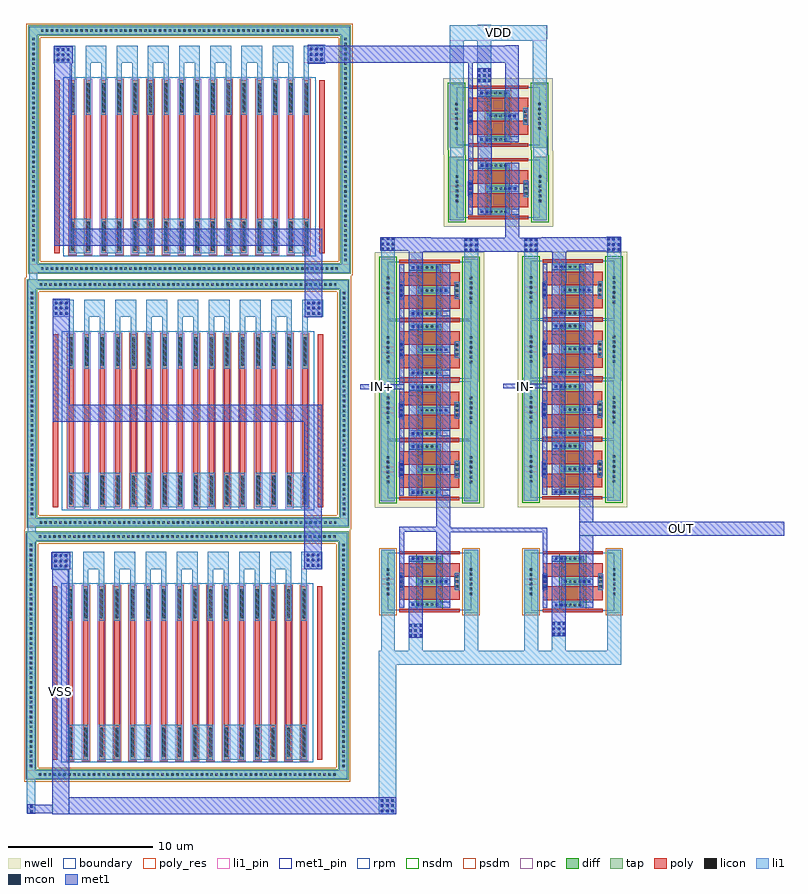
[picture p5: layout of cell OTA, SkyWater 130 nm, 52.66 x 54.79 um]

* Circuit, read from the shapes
.subckt OTA IN+ IN- OUT VDD VSS
XM1 JNWATR_NCH_4C5F0_14/D JNWATR_NCH_4C5F0_14/D VSS VSS sky130_fd_pr__nfet_01v8 w=1.6 l=0.94 m=2
XM2 OUT JNWATR_NCH_4C5F0_14/D VSS VSS sky130_fd_pr__nfet_01v8 w=1.6 l=0.94 m=2
XM3 JNWATR_NCH_4C5F0_14/D IN+ JNWATR_PCH_4C5F0_10/B JNWATR_PCH_4C5F0_10/B sky130_fd_pr__pfet_01v8 w=1.6 l=0.94 m=8
XM4 JNWATR_PCH_4C5F0_3/D JNWATR_PCH_4C5F0_3/D VDD VDD sky130_fd_pr__pfet_01v8 w=1.6 l=0.94 m=2
XM5 JNWATR_PCH_4C5F0_10/B JNWATR_PCH_4C5F0_3/D VDD VDD sky130_fd_pr__pfet_01v8 w=1.6 l=0.94 m=2
XM6 OUT IN- JNWATR_PCH_4C5F0_10/B JNWATR_PCH_4C5F0_10/B sky130_fd_pr__pfet_01v8 w=1.6 l=0.94 m=8
XR7 VSS n1 VSS sky130_fd_pr__res_high_po w=0.36 l=7.24
XR8 JNWTR_RPPO16_0/N n2 VSS sky130_fd_pr__res_high_po w=0.36 l=7.24
XR9 JNWTR_RPPO16_2/N n3 VSS sky130_fd_pr__res_high_po w=0.36 l=7.24
XR10 n4 n1 VSS sky130_fd_pr__res_high_po w=0.36 l=7.24
XR11 n5 n2 VSS sky130_fd_pr__res_high_po w=0.36 l=7.24
XR12 n6 n3 VSS sky130_fd_pr__res_high_po w=0.36 l=7.24
XR13 n4 n7 VSS sky130_fd_pr__res_high_po w=0.36 l=7.24
XR14 n5 n8 VSS sky130_fd_pr__res_high_po w=0.36 l=7.24
XR15 n6 n9 VSS sky130_fd_pr__res_high_po w=0.36 l=7.24
XR16 n10 n7 VSS sky130_fd_pr__res_high_po w=0.36 l=7.24
XR17 n11 n8 VSS sky130_fd_pr__res_high_po w=0.36 l=7.24
XR18 n12 n9 VSS sky130_fd_pr__res_high_po w=0.36 l=7.24
XR19 n10 n13 VSS sky130_fd_pr__res_high_po w=0.36 l=7.24
XR20 n11 n14 VSS sky130_fd_pr__res_high_po w=0.36 l=7.24
XR21 n12 n15 VSS sky130_fd_pr__res_high_po w=0.36 l=7.24
XR22 n16 n13 VSS sky130_fd_pr__res_high_po w=0.36 l=7.24
XR23 n17 n14 VSS sky130_fd_pr__res_high_po w=0.36 l=7.24
XR24 n18 n15 VSS sky130_fd_pr__res_high_po w=0.36 l=7.24
XR25 n16 n19 VSS sky130_fd_pr__res_high_po w=0.36 l=7.24
XR26 n17 n20 VSS sky130_fd_pr__res_high_po w=0.36 l=7.24
XR27 n18 n21 VSS sky130_fd_pr__res_high_po w=0.36 l=7.24
XR28 n22 n19 VSS sky130_fd_pr__res_high_po w=0.36 l=7.24
XR29 n23 n20 VSS sky130_fd_pr__res_high_po w=0.36 l=7.24
XR30 n24 n21 VSS sky130_fd_pr__res_high_po w=0.36 l=7.24
XR31 n22 n25 VSS sky130_fd_pr__res_high_po w=0.36 l=7.24
XR32 n23 n26 VSS sky130_fd_pr__res_high_po w=0.36 l=7.24
XR33 n24 n27 VSS sky130_fd_pr__res_high_po w=0.36 l=7.24
XR34 n28 n25 VSS sky130_fd_pr__res_high_po w=0.36 l=7.24
XR35 n29 n26 VSS sky130_fd_pr__res_high_po w=0.36 l=7.24
XR36 n30 n27 VSS sky130_fd_pr__res_high_po w=0.36 l=7.24
XR37 n28 n31 VSS sky130_fd_pr__res_high_po w=0.36 l=7.24
XR38 n29 n32 VSS sky130_fd_pr__res_high_po w=0.36 l=7.24
XR39 n30 n33 VSS sky130_fd_pr__res_high_po w=0.36 l=7.24
XR40 n34 n31 VSS sky130_fd_pr__res_high_po w=0.36 l=7.24
XR41 n35 n32 VSS sky130_fd_pr__res_high_po w=0.36 l=7.24
XR42 n36 n33 VSS sky130_fd_pr__res_high_po w=0.36 l=7.24
XR43 n34 n37 VSS sky130_fd_pr__res_high_po w=0.36 l=7.24
XR44 n35 n38 VSS sky130_fd_pr__res_high_po w=0.36 l=7.24
XR45 n36 n39 VSS sky130_fd_pr__res_high_po w=0.36 l=7.24
XR46 n40 n37 VSS sky130_fd_pr__res_high_po w=0.36 l=7.24
XR47 n41 n38 VSS sky130_fd_pr__res_high_po w=0.36 l=7.24
XR48 n42 n39 VSS sky130_fd_pr__res_high_po w=0.36 l=7.24
XR49 n40 n43 VSS sky130_fd_pr__res_high_po w=0.36 l=7.24
XR50 n41 n44 VSS sky130_fd_pr__res_high_po w=0.36 l=7.24
XR51 n42 n45 VSS sky130_fd_pr__res_high_po w=0.36 l=7.24
XR52 JNWTR_RPPO16_0/N n43 VSS sky130_fd_pr__res_high_po w=0.36 l=7.24
XR53 JNWTR_RPPO16_2/N n44 VSS sky130_fd_pr__res_high_po w=0.36 l=7.24
XR54 JNWATR_PCH_4C5F0_3/D n45 VSS sky130_fd_pr__res_high_po w=0.36 l=7.24
.ends

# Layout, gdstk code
import gdstk
lib = gdstk.Library(unit=1e-6, precision=1e-09)
def R(c, l, rs):  # rectangles x0, y0, x1, y1
    for r in rs: c.add(gdstk.rectangle(r[:2], r[2:], *l))
def A(c, l, x, y, w, h, nx, ny, dx, dy):  # array of equal rectangles
    R(c, l, [(x+i*dx, y+j*dy, x+i*dx+w, y+j*dy+h) for i in range(nx) for j in range(ny)])
nwell = (64, 20)
diff = (65, 20)
tap = (65, 44)
poly_res = (66, 13)
poly = (66, 20)
licon = (66, 44)
li1_pin = (67, 16)
li1 = (67, 20)
mcon = (67, 44)
met1_pin = (68, 16)
met1 = (68, 20)
rpm = (86, 20)
nsdm = (93, 44)
psdm = (94, 20)
npc = (95, 20)
boundary = (235, 4)

jnwtr_res16 = lib.new_cell('JNWTR_RES16')
A(jnwtr_res16, poly_res, 0.9, 1.72, 0.36, 7.36, 16, 1, 1.08, 0)
A(jnwtr_res16, poly, -0.18, -0.6, 0.36, 12, 18, 1, 1.08, 0)
A(jnwtr_res16, licon, 0.985, -0.4, 0.19, 2, 16, 2, 1.08, 9.6)
R(jnwtr_res16, li1_pin, [(-0.18,12.6,1.26,13.8), (17.1,12.6,18.54,13.8)])
A(jnwtr_res16, li1, 0.9, -0.6, 1.44, 2.4, 8, 1, 2.16, 0)
A(jnwtr_res16, li1, 0.9, 9, 0.36, 3.6, 16, 1, 1.08, 0)
A(jnwtr_res16, li1, -0.18, 12.6, 1.44, 1.2, 9, 1, 2.16, 0)
R(jnwtr_res16, rpm, [(0.445,-0.8,17.915,11.6)])
A(jnwtr_res16, psdm, 0.79, -0.71, 0.58, 12.22, 16, 1, 1.08, 0)
A(jnwtr_res16, npc, 0.805, -0.695, 0.55, 12.19, 16, 1, 1.08, 0)
R(jnwtr_res16, boundary, [(0,0,18.36,13.2)])
jnwtr_res16.add(gdstk.Label('N', (0.54,13.2), layer=67, texttype=5))
jnwtr_res16.add(gdstk.Label('P', (17.82,13.2), layer=67, texttype=5))

jnwtr_rppo16 = lib.new_cell('JNWTR_RPPO16')
R(jnwtr_rppo16, tap, [(0,0,22.36,0.72), (0,0.72,0.72,16.48), (21.64,0.72,22.36,16.48), (0,16.48,22.36,17.2)])
A(jnwtr_rppo16, licon, 0.895, 0.275, 0.17, 0.17, 61, 2, 0.34, 16.48)
A(jnwtr_rppo16, licon, 0.275, 0.865, 0.17, 0.17, 1, 46, 0, 0.34)
A(jnwtr_rppo16, licon, 21.915, 0.865, 0.17, 0.17, 1, 46, 0, 0.34)
R(jnwtr_rppo16, li1_pin, [(0.08,0.08,22.28,0.64), (1.82,14.6,3.26,15.8), (19.1,14.6,20.54,15.8)])
R(jnwtr_rppo16, li1, [(0.08,0.08,22.28,0.64), (0.08,0.64,0.64,16.56), (21.72,0.64,22.28,16.56), (1.82,14.6,3.26,15.8), (19.1,14.6,20.54,15.8), (0.08,16.56,22.28,17.12)])
R(jnwtr_rppo16, psdm, [(-0.125,-0.125,22.485,0.845), (-0.125,0.845,0.845,16.355), (21.515,0.845,22.485,16.355), (-0.125,16.355,22.485,17.325)])
R(jnwtr_rppo16, boundary, [(0,0,22.36,17.2)])
jnwtr_rppo16.add(gdstk.Reference(jnwtr_res16, (2,2)))
jnwtr_rppo16.add(gdstk.Label('P', (19.82,15.2), layer=67, texttype=5))
jnwtr_rppo16.add(gdstk.Label('N', (2.54,15.2), layer=67, texttype=5))
jnwtr_rppo16.add(gdstk.Label('B', (11.18,0.36), layer=67, texttype=5))

jnwatr_pch_4c5f0 = lib.new_cell('JNWATR_PCH_4C5F0')
R(jnwatr_pch_4c5f0, nwell, [(-0.92,-0.64,6.68,4.64)])
R(jnwatr_pch_4c5f0, diff, [(2.08,0.2,3.68,3.8)])
R(jnwatr_pch_4c5f0, tap, [(-0.48,-0.2,0.48,4.2), (5.28,-0.2,6.24,4.2)])
R(jnwatr_pch_4c5f0, poly, [(0.8,-0.11,4.96,0.11), (0.8,0.73,4.96,1.67), (0.8,1.67,1.12,2.33), (4.64,1.67,4.96,2.33), (0.8,2.33,4.96,3.27), (0.8,3.89,4.96,4.11)])
A(jnwatr_pch_4c5f0, licon, 2.285, 0.315, 0.17, 0.17, 4, 3, 0.34, 1.6)
A(jnwatr_pch_4c5f0, licon, -0.085, 1.065, 0.17, 0.17, 1, 6, 0, 0.34)
A(jnwatr_pch_4c5f0, licon, 5.675, 1.065, 0.17, 0.17, 1, 6, 0, 0.34)
A(jnwatr_pch_4c5f0, licon, 0.87, 1.575, 0.17, 0.17, 1, 3, 0, 0.34)
A(jnwatr_pch_4c5f0, licon, 4.71, 1.575, 0.17, 0.17, 1, 3, 0, 0.34)
R(jnwatr_pch_4c5f0, li1_pin, [(-0.48,1.8,0.48,2.2)])
R(jnwatr_pch_4c5f0, li1, [(-0.48,-0.2,0.48,4.2), (5.28,-0.2,6.24,4.2), (1.44,0.2,3.68,0.6), (0.8,1.4,1.12,2.6), (4.64,1.4,4.96,2.6), (2.08,1.8,4.32,2.2), (1.44,3.4,3.68,3.8)])
A(jnwatr_pch_4c5f0, mcon, 0.87, 1.555, 0.17, 0.17, 1, 3, 0, 0.36)
R(jnwatr_pch_4c5f0, mcon, [(1.655,0.315,1.825,0.485), (2.015,0.315,2.185,0.485), (3.575,1.915,3.745,2.085), (3.935,1.915,4.105,2.085), (1.655,3.515,1.825,3.685), (2.015,3.515,2.185,3.685)])
R(jnwatr_pch_4c5f0, met1_pin, [(3.36,0.2,4.32,0.6), (0.8,1.8,1.12,2.2), (1.44,3,2.4,3.4)])
R(jnwatr_pch_4c5f0, met1, [(0.8,0.2,1.12,3.8), (1.44,0.2,2.4,3.8), (3.36,0.2,4.32,3.8)])
R(jnwatr_pch_4c5f0, nsdm, [(-0.605,-0.325,0.605,4.325), (5.155,-0.325,6.365,4.325)])
R(jnwatr_pch_4c5f0, psdm, [(1.955,0.075,3.805,3.925)])
R(jnwatr_pch_4c5f0, npc, [(0.77,1.475,1.14,2.525), (4.61,1.475,4.98,2.525)])
R(jnwatr_pch_4c5f0, boundary, [(0,0,5.76,4)])
jnwatr_pch_4c5f0.add(gdstk.Label('D', (3.84,0.4), layer=68, texttype=5))
jnwatr_pch_4c5f0.add(gdstk.Label('G', (0.96,2), layer=68, texttype=5))
jnwatr_pch_4c5f0.add(gdstk.Label('S', (1.92,3.2), layer=68, texttype=5))
jnwatr_pch_4c5f0.add(gdstk.Label('B', (0,2), layer=67, texttype=5))

jnwatr_nch_4c5f0 = lib.new_cell('JNWATR_NCH_4C5F0')
R(jnwatr_nch_4c5f0, diff, [(2.08,0.2,3.68,3.8)])
R(jnwatr_nch_4c5f0, tap, [(-0.48,-0.2,0.48,4.2), (5.28,-0.2,6.24,4.2)])
R(jnwatr_nch_4c5f0, poly, [(0.8,-0.11,4.96,0.11), (0.8,0.73,4.96,1.67), (0.8,1.67,1.12,2.33), (4.64,1.67,4.96,2.33), (0.8,2.33,4.96,3.27), (0.8,3.89,4.96,4.11)])
A(jnwatr_nch_4c5f0, licon, 2.285, 0.315, 0.17, 0.17, 4, 3, 0.34, 1.6)
A(jnwatr_nch_4c5f0, licon, -0.085, 1.065, 0.17, 0.17, 1, 6, 0, 0.34)
A(jnwatr_nch_4c5f0, licon, 5.675, 1.065, 0.17, 0.17, 1, 6, 0, 0.34)
A(jnwatr_nch_4c5f0, licon, 0.87, 1.575, 0.17, 0.17, 1, 3, 0, 0.34)
A(jnwatr_nch_4c5f0, licon, 4.71, 1.575, 0.17, 0.17, 1, 3, 0, 0.34)
R(jnwatr_nch_4c5f0, li1_pin, [(-0.48,1.8,0.48,2.2)])
R(jnwatr_nch_4c5f0, li1, [(-0.48,-0.2,0.48,4.2), (5.28,-0.2,6.24,4.2), (1.44,0.2,3.68,0.6), (0.8,1.4,1.12,2.6), (4.64,1.4,4.96,2.6), (2.08,1.8,4.32,2.2), (1.44,3.4,3.68,3.8)])
A(jnwatr_nch_4c5f0, mcon, 0.87, 1.555, 0.17, 0.17, 1, 3, 0, 0.36)
R(jnwatr_nch_4c5f0, mcon, [(1.655,0.315,1.825,0.485), (2.015,0.315,2.185,0.485), (3.575,1.915,3.745,2.085), (3.935,1.915,4.105,2.085), (1.655,3.515,1.825,3.685), (2.015,3.515,2.185,3.685)])
R(jnwatr_nch_4c5f0, met1_pin, [(3.36,0.2,4.32,0.6), (0.8,1.8,1.12,2.2), (1.44,3,2.4,3.4)])
R(jnwatr_nch_4c5f0, met1, [(0.8,0.2,1.12,3.8), (1.44,0.2,2.4,3.8), (3.36,0.2,4.32,3.8)])
R(jnwatr_nch_4c5f0, nsdm, [(1.955,0.075,3.805,3.925)])
R(jnwatr_nch_4c5f0, psdm, [(-0.605,-0.325,0.605,4.325), (5.155,-0.325,6.365,4.325)])
R(jnwatr_nch_4c5f0, npc, [(0.77,1.475,1.14,2.525), (4.61,1.475,4.98,2.525)])
R(jnwatr_nch_4c5f0, boundary, [(0,0,5.76,4)])
jnwatr_nch_4c5f0.add(gdstk.Label('D', (3.84,0.4), layer=68, texttype=5))
jnwatr_nch_4c5f0.add(gdstk.Label('G', (0.96,2), layer=68, texttype=5))
jnwatr_nch_4c5f0.add(gdstk.Label('S', (1.92,3.2), layer=68, texttype=5))
jnwatr_nch_4c5f0.add(gdstk.Label('B', (0,2), layer=67, texttype=5))

ota = lib.new_cell('OTA')
R(ota, li1_pin, [(29.37,51.21,36.09,52.27)])
R(ota, li1, [(24.45,-2.4,25.65,7.98), (0.08,-2.31,0.64,0.64), (40.29,7.96,41.25,7.98), (24.45,7.98,41.25,8.93), (24.61,8.93,41.25,8.94), (24.61,8.94,25.57,12.49), (26.53,8.94,27.49,10.82), (30.37,8.94,31.33,12.52), (34.53,8.94,35.49,12.48), (36.45,8.94,37.41,10.94), (40.29,8.94,41.25,12.61), (1.82,14.6,3.02,15.74), (19.33,14.64,20.47,15.78), (0.14,16.5,0.7,18.11), (1.88,32.07,3.02,33.27), (19.37,32.1,20.51,33.24), (0.24,34.02,0.8,35.7), (40.28,35.09,41.24,37.57), (24.61,35.14,25.57,37.57), (30.37,35.14,31.33,37.5), (34.52,35.18,35.48,37.5), (29.39,41.42,30.35,44.26), (35.15,41.44,36.11,44.54), (35.13,46.79,36.09,51.21), (29.37,47.02,30.33,51.21), (31.29,48.31,32.25,51.21), (1.98,49.66,3.18,50.8), (19.56,49.66,20.7,50.86), (29.36,51.21,36.09,51.31), (29.36,51.31,36.12,52.17), (29.37,52.17,36.12,52.27), (31.29,52.27,32.25,52.29)])
A(ota, mcon, 24.605, -2.245, 0.17, 0.17, 3, 3, 0.36, 0.36)
A(ota, mcon, 26.565, 9.895, 0.17, 0.17, 3, 3, 0.36, 0.36)
A(ota, mcon, 36.485, 10.015, 0.17, 0.17, 3, 3, 0.36, 0.36)
A(ota, mcon, 1.975, 14.725, 0.17, 0.17, 3, 3, 0.36, 0.36)
A(ota, mcon, 19.455, 14.765, 0.17, 0.17, 3, 3, 0.36, 0.36)
A(ota, mcon, 2.005, 32.225, 0.17, 0.17, 3, 3, 0.36, 0.36)
A(ota, mcon, 19.495, 32.225, 0.17, 0.17, 3, 3, 0.36, 0.36)
A(ota, mcon, 30.405, 36.605, 0.17, 0.17, 3, 3, 0.36, 0.36)
A(ota, mcon, 34.555, 36.605, 0.17, 0.17, 3, 3, 0.36, 0.36)
A(ota, mcon, 40.285, 36.645, 0.17, 0.17, 3, 3, 0.36, 0.36)
A(ota, mcon, 24.645, 36.675, 0.17, 0.17, 3, 3, 0.36, 0.36)
A(ota, mcon, 31.325, 48.345, 0.17, 0.17, 3, 3, 0.36, 0.36)
A(ota, mcon, 2.135, 49.785, 0.17, 0.17, 3, 3, 0.36, 0.36)
A(ota, mcon, 19.685, 49.815, 0.17, 0.17, 3, 3, 0.36, 0.36)
R(ota, mcon, [(0.305,-2.295,0.475,-2.125), (0.305,-1.935,0.475,-1.765)])
R(ota, met1_pin, [(1.82,-2.4,3.02,14.6), (38.35,16.9,52.53,17.86), (23.185,27.07,26.21,27.4), (33.095,27.11,36.12,27.44)])
R(ota, met1, [(1.82,-2.4,25.68,-2.31), (0.11,-2.37,0.67,-2.31), (0.11,-2.31,25.68,-1.75), (0.11,-1.75,0.67,-1.69), (1.82,-1.75,25.68,-1.2), (1.82,-1.2,3.02,14.57), (26.53,9.83,27.49,13.25), (36.45,9.95,37.41,13.24), (28.44,13.53,29.4,17.14), (38.35,13.65,39.31,16.9), (1.76,14.57,3.08,15.77), (19.3,14.58,20.5,24.79), (35.81,14.82,36.13,17.14), (25.89,15.1,26.21,17.19), (38.35,16.9,52.53,17.86), (28.44,17.14,36.13,17.19), (25.89,17.19,36.13,17.46), (25.89,17.46,29.48,17.51), (28.44,17.51,29.4,20.86), (38.35,17.86,39.31,20.89), (26.53,21.42,27.49,33.42), (36.43,21.64,37.39,33.2), (38.36,21.8,39.32,33.58), (28.44,21.92,29.4,33.43), (25.89,22.69,26.21,27.07), (35.8,22.86,36.12,27.11), (1.85,24.79,20.5,25.99), (1.85,25.99,3.05,33.33), (23.185,27.07,26.21,27.4), (33.095,27.11,36.12,27.44), (25.89,27.4,26.21,32.43), (35.8,27.44,36.12,32.5), (19.34,32.04,20.54,36.99), (26.53,33.9,27.49,36.59), (36.47,34.4,37.43,36.59), (40.25,36.55,41.21,36.61), (30.31,36.57,31.39,36.59), (34.46,36.57,35.54,36.59), (26.53,36.59,37.43,36.61), (26.53,36.61,41.21,36.64), (24.55,36.64,41.21,37.55), (1.98,36.99,20.54,38.19), (24.55,37.55,28.06,37.6), (33.23,37.55,34.19,39.61), (35.73,37.55,41.21,37.57), (40.25,37.57,41.21,37.63), (1.98,38.19,3.18,49.63), (31.31,40.64,32.27,45.09), (30.67,41.52,30.99,44.64), (31.29,46.1,32.25,49.3), (33.21,46.46,34.17,49.66), (30.65,47.03,30.97,49.66), (19.53,49.6,20.73,49.66), (1.92,49.63,3.24,50.83), (19.53,49.66,34.17,50.86), (19.53,50.86,20.73,50.92), (33.21,50.86,34.17,50.87)])
R(ota, nsdm, [(29.255,43.275,30.445,43.645), (35.015,43.275,36.205,43.645)])
R(ota, psdm, [(-0.065,17.325,22.485,17.345), (27.035,23.415,28.885,23.675), (36.945,23.455,38.795,23.715), (27.045,27.525,28.885,27.865), (36.955,27.565,38.795,27.905), (27.045,31.715,28.895,31.975), (36.955,31.755,38.805,32.015), (0.035,34.795,22.545,34.935)])
ota.add(gdstk.Reference(jnwtr_rppo16, (0.06,17.47)))
ota.add(gdstk.Reference(jnwtr_rppo16, (0,0)))
ota.add(gdstk.Reference(jnwtr_rppo16, (0.16,35.06)))
ota.add(gdstk.Reference(jnwatr_pch_4c5f0, (29.84,43.97)))
ota.add(gdstk.Reference(jnwatr_pch_4c5f0, (29.86,38.95)))
ota.add(gdstk.Reference(jnwatr_pch_4c5f0, (25.09,31.9)))
ota.add(gdstk.Reference(jnwatr_pch_4c5f0, (25.09,27.79)))
ota.add(gdstk.Reference(jnwatr_pch_4c5f0, (25.08,23.6)))
ota.add(gdstk.Reference(jnwatr_pch_4c5f0, (25.08,19.49)))
ota.add(gdstk.Reference(jnwatr_pch_4c5f0, (35,31.94)))
ota.add(gdstk.Reference(jnwatr_pch_4c5f0, (35,27.83)))
ota.add(gdstk.Reference(jnwatr_pch_4c5f0, (34.99,19.53)))
ota.add(gdstk.Reference(jnwatr_pch_4c5f0, (34.99,23.64)))
ota.add(gdstk.Reference(jnwatr_nch_4c5f0, (35.01,11.72)))
ota.add(gdstk.Reference(jnwatr_nch_4c5f0, (25.09,11.73)))
ota.add(gdstk.Label('VSS', (2.42,6.1), layer=68, texttype=5))
ota.add(gdstk.Label('IN+', (24.697,27.235), layer=68, texttype=5))
ota.add(gdstk.Label('IN-', (34.607,27.275), layer=68, texttype=5))
ota.add(gdstk.Label('VDD', (32.73,51.74), layer=67, texttype=5))
ota.add(gdstk.Label('OUT', (45.44,17.38), layer=68, texttype=5))

lib.write_gds('OTA.gds')
